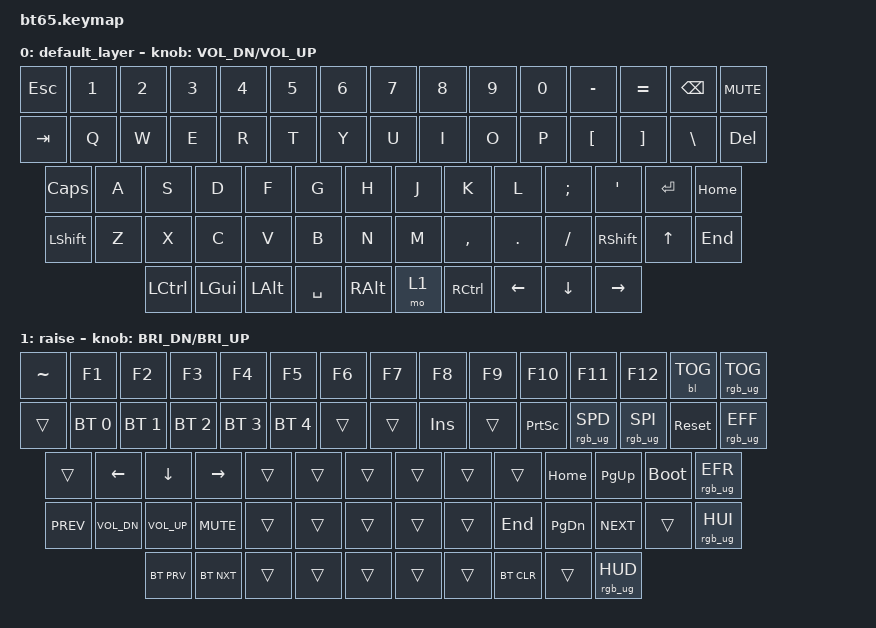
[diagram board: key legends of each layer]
#include <behaviors.dtsi>
#include <dt-bindings/zmk/keys.h>
#include <dt-bindings/zmk/bt.h>
#include <dt-bindings/zmk/rgb.h>
#include <dt-bindings/zmk/backlight.h>
#include <dt-bindings/zmk/ext_power.h>


/ {
	keymap {
		compatible = "zmk,keymap";

		default_layer {
				// ------------------------------------------------------------------------------------------------------------
				// |  `  |  1  |  2  |  3  |  4  |  5  |  6  |  7  |  8  |  9  |  0  |  -  |  =  |BKSP | INS		|
				// | TAB  |  Q  |  W  |  E  |  R  |  T  |  Y  |  U  |  I  |  O  |  P  |  [  |  ]  |   \    | DEL		|
				// | CAPS  |  A  |  S  |  D  |  F  |  G  |  H  |  J  |  K  |  L  |  ;  |  '  |     ENTER    |PGUP	|
				// |  SHIFT  |  Z  |  X  |  C  |  V  |  B  |  N  |  M  |  ,  |  .  | /   |   SHIFT  | UP   | PGDN|
				// |  CTL  |  WIN  |  ALT  |            SPACE               | ALT | 1    |  MENU| LEFT |  DOWN    | RIGHT	|
				// ------------------------------------------------------------------------------------------------------------
			bindings = <

				&kp ESC &kp N1 &kp N2 &kp N3 &kp N4 &kp N5 &kp N6 &kp N7 &kp  N8   &kp  N9   &kp N0 &kp MINUS &kp EQUAL &kp BSPC &kp C_MUTE
				&kp TAB  &kp Q  &kp W  &kp E  &kp R  &kp T  &kp Y  &kp U  &kp  I    &kp  O  &kp  P   &kp LBKT &kp RBKT  	&kp BSLH &kp DEL
				&kp CLCK  &kp A  &kp S  &kp D  &kp F  &kp G  &kp H  &kp J  &kp  K    &kp  L  &kp SEMI &kp SQT           	&kp RET &kp HOME
				&kp LSHFT &kp Z  &kp X  &kp C  &kp V  &kp B  &kp N  &kp M  &kp COMMA &kp DOT &kp FSLH   &kp RSHFT &kp UP &kp END
				&kp LCTRL &kp LGUI &kp LALT            &kp SPACE                          &kp RALT  &mo 1 &kp RCTRL &kp LEFT &kp DOWN &kp RIGHT
			>;
			sensor-bindings = <&inc_dec_kp C_VOL_DN C_VOL_UP>;
		};
		raise {
			bindings = <
				&kp TILDE &kp F1 &kp F2 &kp F3 &kp F4 &kp F5 &kp F6 &kp F7 &kp  F8   &kp  F9   &kp F10  &kp F11 &kp F12 &bl BL_TOG &rgb_ug RGB_TOG
				&trans &bt BT_SEL 0 &bt BT_SEL 1 &bt BT_SEL 2 &bt BT_SEL 3 &bt BT_SEL 4 &trans &trans &kp INS &trans &kp PSCRN &rgb_ug RGB_SPD &rgb_ug RGB_SPI &sys_reset &rgb_ug RGB_EFF
				&trans    &kp LEFT &kp DOWN &kp RIGHT &trans &trans &trans &trans &trans &trans &kp HOME  &kp PG_UP   &bootloader &rgb_ug RGB_EFR
				&kp C_PREV &kp C_VOL_DN &kp C_VOL_UP &kp C_MUTE &trans &trans &trans &trans &trans &kp END &kp PG_DN  &kp C_NEXT &trans &rgb_ug RGB_HUI
				&bt BT_PRV &bt BT_NXT  &trans              &trans                            &trans   &trans   &trans &bt BT_CLR &trans &rgb_ug RGB_HUD
			>;
			sensor-bindings = <&inc_dec_kp C_BRI_DN C_BRI_UP>;
		};
	};
};
